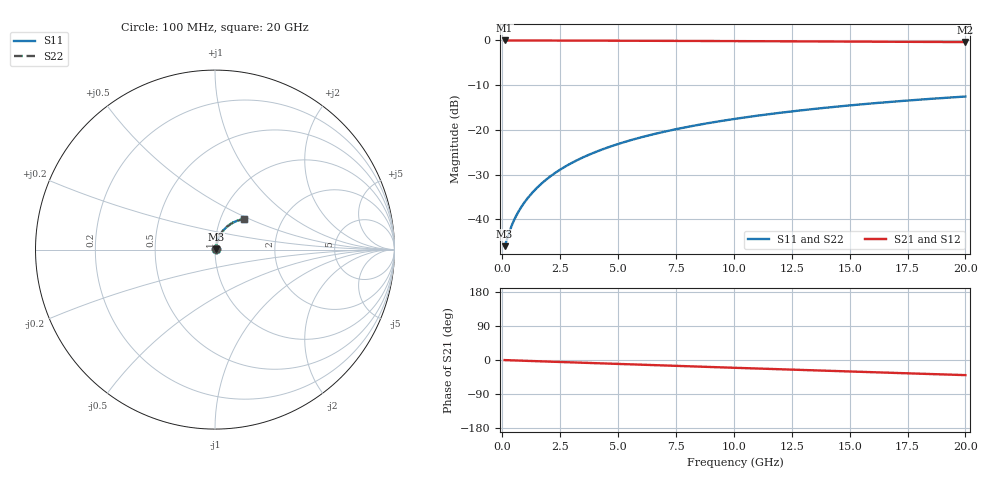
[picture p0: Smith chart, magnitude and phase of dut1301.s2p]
! Touchstone file exported from HFSS 2026.1.0
!  File:  C:/ffzhzh/LocalFiles/Ansys_Project_Files/temp_train_TMRDL_1301_1783164685_51560.aedt
!  Generated:  07:32:34 PM Jul  4, 2026
!  Design:  TMRDL
!  Project:  temp_train_TMRDL_1301_1783164685_51560
! Variables:
!  h_bsmrdl = 2um
!  h_ox = 20um
!  h_rdl = 5um
!  h_sub = 80um
!  h_tmrdl = 3.19um
!  h_tsv = 80um
!  h_via = 3um
!  l_bsmrdl = 300um
!  l_sub = 1068.58um
!  l_tmrdl = 668.58um
!  m_sub = 200um
!  pitch = 25.95um
!  r_tsv = 6um
!  s_tmrdl = 10um
!  w_bsmrdl = 18um
!  w_sub = 500um
!  w_tmrdl = 16.28um
!  x_tsv_center1 = 676.72um
!  x_tsv_center2 = 994.72um
!  x_tsv_center3 = 1679.58um
!  x_tsv_center4 = 1997.58um
!  x_tsv_center5 = 2682.44um
!  x_tsv_center6 = 3000.44um
# GHz S MA R 50.000000
! Terminal data exported
! Port[1] = TM_RDL1_1_T1
! Port[2] = TM_RDL1_1_T2
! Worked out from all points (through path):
!   200 points, 100 MHz to 20 GHz, reference 50 ohm
!   highest |S21| = -0.04 dB at 100 MHz (marker M1); lowest = -0.4 dB at 20 GHz (marker M2)
!   group delay of S21, straight-line fit = 5.53 ps
!   lowest |S11| = -46.0 dB at 100 MHz (marker M3), VSWR 1.01, Z = 50.5 + j0.176 ohm
!   |S11| at or under -10 dB: start of sweep to end of sweep
!   |S22| runs from -46.0 to -12.6 dB; largest |S21 - S12| = 4.5e-15
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0.1  0.005026 20.3  0.9953 -0.2  0.9953 -0.2  0.005026 20.3
! Gamma 0 0 0 0
! Port Impedance 50 0 50 0
0.3  0.007191 43.8  0.9949 -0.7  0.9949 -0.7  0.007191 43.8
0.4  0.008456 49.7  0.9946 -0.9  0.9946 -0.9  0.008456 49.7
0.6  0.01098 57.1  0.9942 -1.3  0.9942 -1.3  0.01098 57.1
0.7  0.01224 59.6  0.994 -1.5  0.994 -1.5  0.01224 59.6
0.9  0.01476 63.6  0.9938 -1.9  0.9938 -1.9  0.01476 63.6
1.1  0.01732 66.4  0.9936 -2.3  0.9936 -2.3  0.01733 66.4
1.3  0.01992 68.5  0.9934 -2.8  0.9934 -2.8  0.01992 68.5
1.8  0.02654 71.7  0.993 -3.8  0.993 -3.8  0.02654 71.7
2.3  0.03326 73.2  0.9926 -4.8  0.9926 -4.8  0.03326 73.2
2.9  0.04137 73.9  0.992 -6.1  0.992 -6.1  0.04137 73.9
3.5  0.04947 73.9  0.9913 -7.3  0.9913 -7.3  0.04948 73.9
4.2  0.05887 73.5  0.9903 -8.8  0.9903 -8.8  0.05887 73.5
5  0.06949 72.6  0.9891 -10.4  0.9891 -10.4  0.0695 72.6
5.9  0.08127 71.3  0.9875 -12.2  0.9875 -12.2  0.08128 71.3
6.8  0.09283 69.9  0.9859 -14.1  0.9859 -14.1  0.09284 69.8
8.3  0.1116 67.3  0.9828 -17.1  0.9828 -17.1  0.1116 67.2
10.1  0.1332 64.0  0.9788 -20.7  0.9788 -20.7  0.1333 64.0
11.7  0.1517 61.1  0.975 -23.9  0.975 -23.9  0.1517 61.1
13.4  0.1705 58.0  0.9709 -27.2  0.9709 -27.2  0.1705 58.0
16.7  0.2046 52.0  0.9628 -33.6  0.9628 -33.6  0.2047 52.0
20  0.2355 46.1  0.9546 -39.9  0.9546 -39.9  0.2356 46.0
